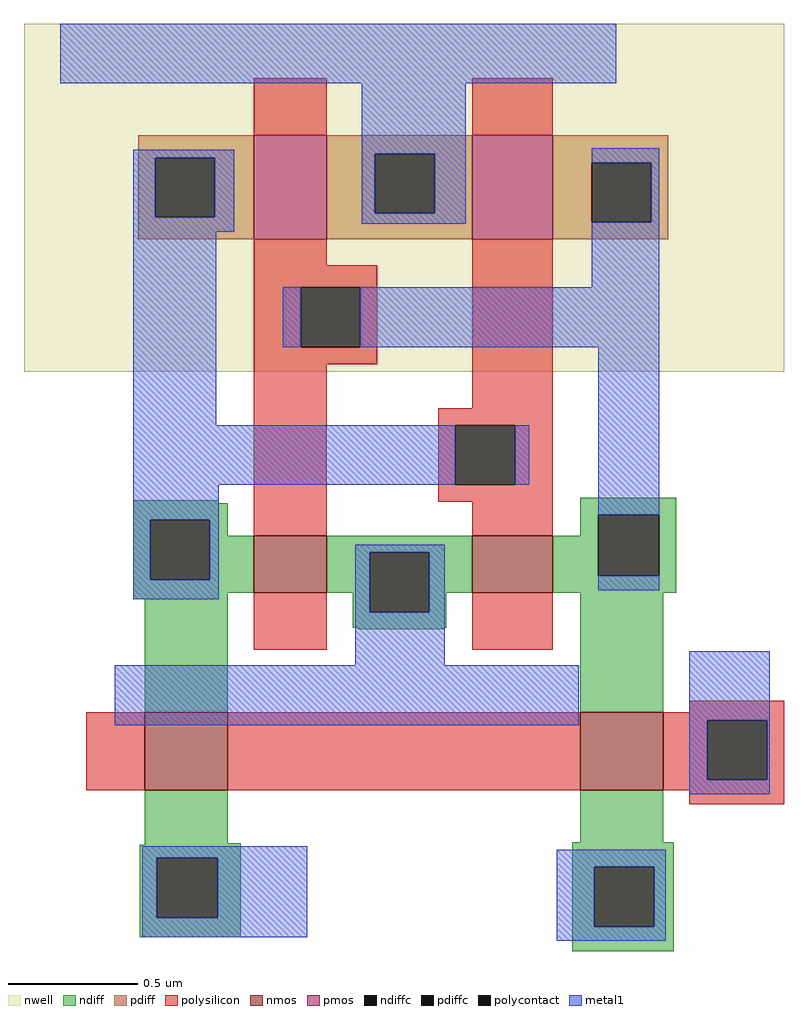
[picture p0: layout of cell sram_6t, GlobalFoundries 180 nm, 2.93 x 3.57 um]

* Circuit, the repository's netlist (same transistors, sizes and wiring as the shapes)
* NGSPICE file created from sram_6t.ext - technology: gf180mcuD

.subckt sram_6t
X0 a_123_502# a_67_186# a_n26_225# w_n109_400# pfet_03v3 ad=0.112p pd=0.96u as=0.178p ps=1.69u w=0.4u l=0.28u
X1 a_67_186# a_n62_78# a_312_n52# VSUBS nfet_03v3 ad=0.15267p pd=1.3u as=0.2409p ps=2.08u w=0.32u l=0.3u
X2 a_123_230# a_67_186# a_n26_225# VSUBS nfet_03v3 ad=86.72499f pd=0.92u as=0.14977p ps=1.28u w=0.22u l=0.28u
X3 a_67_186# a_n26_225# a_123_502# w_n109_400# pfet_03v3 ad=0.178p pd=1.69u as=0.112p ps=0.96u w=0.4u l=0.31u
X4 a_67_186# a_n26_225# a_123_230# VSUBS nfet_03v3 ad=0.15267p pd=1.3u as=86.72499f ps=0.92u w=0.22u l=0.31u
X5 a_n26_225# a_n62_78# a_n21_n38# VSUBS nfet_03v3 ad=0.14977p pd=1.28u as=0.2107p ps=1.94u w=0.32u l=0.3u
.ends

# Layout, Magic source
magic
tech gf180mcuD
magscale 1 10
<< nwell >>
rect -110 400 475 668
<< nmos >>
rect 67 230 123 274
rect 235 230 297 274
rect -17 78 47 138
rect 318 78 382 138
<< pmos >>
rect 67 502 123 582
rect 235 502 297 582
<< ndiff >>
rect -26 299 40 301
rect -26 286 47 299
rect -26 240 -13 286
rect 33 274 47 286
rect 318 290 392 303
rect 318 274 332 290
rect 33 240 67 274
rect -26 230 67 240
rect 123 261 235 274
rect 123 230 156 261
rect -26 225 47 230
rect -17 138 47 225
rect 143 215 156 230
rect 202 230 235 261
rect 297 243 332 274
rect 379 243 392 290
rect 297 230 392 243
rect 202 215 215 230
rect 143 203 215 215
rect 147 202 214 203
rect 318 138 382 230
rect -17 37 47 78
rect 318 38 382 78
rect -17 36 57 37
rect -21 26 57 36
rect -21 -20 -8 26
rect 39 -20 57 26
rect -21 -35 57 -20
rect 312 19 390 38
rect 312 -27 329 19
rect 375 -27 390 19
rect 312 -46 390 -27
<< pdiff >>
rect -22 565 67 582
rect -22 519 -9 565
rect 37 519 67 565
rect -22 502 67 519
rect 123 568 235 582
rect 123 522 160 568
rect 206 522 235 568
rect 123 502 235 522
rect 297 561 386 582
rect 297 515 327 561
rect 373 515 386 561
rect 297 502 386 515
<< ndiffc >>
rect -13 240 33 286
rect 156 215 202 261
rect 332 243 379 290
rect -8 -20 39 26
rect 329 -27 375 19
<< pdiffc >>
rect -9 519 37 565
rect 160 522 206 568
rect 327 515 373 561
<< polysilicon >>
rect 67 582 123 626
rect 235 582 297 626
rect 67 482 123 502
rect 67 465 162 482
rect 67 419 103 465
rect 149 419 162 465
rect 67 406 162 419
rect 67 274 123 406
rect 235 372 297 502
rect 209 359 297 372
rect 209 313 222 359
rect 268 313 297 359
rect 209 300 297 313
rect 235 274 297 300
rect 67 186 123 230
rect 235 186 297 230
rect 402 138 475 147
rect -62 78 -17 138
rect 47 78 318 138
rect 382 132 475 138
rect 382 86 416 132
rect 462 86 475 132
rect 382 78 475 86
rect 402 67 475 78
<< polycontact >>
rect 103 419 149 465
rect 222 313 268 359
rect 416 86 462 132
<< metal1 >>
rect -82 622 346 668
rect -26 565 52 571
rect -26 519 -9 565
rect 37 519 52 565
rect -26 508 52 519
rect 150 568 230 622
rect 150 522 160 568
rect 206 522 230 568
rect 150 514 230 522
rect 327 561 379 572
rect 373 515 379 561
rect -26 359 38 508
rect 327 465 379 515
rect 89 419 103 465
rect 149 419 379 465
rect -26 313 222 359
rect 268 313 279 359
rect -26 286 40 313
rect -26 240 -13 286
rect 33 240 40 286
rect 332 290 379 419
rect -26 225 40 240
rect 145 261 214 267
rect 145 215 156 261
rect 202 215 214 261
rect 332 232 379 243
rect 145 174 214 215
rect -40 128 317 174
rect 402 132 464 185
rect 402 86 416 132
rect 462 86 464 132
rect 402 75 464 86
rect -19 26 108 35
rect -19 -20 -8 26
rect 39 -20 108 26
rect -19 -35 108 -20
rect 300 19 384 32
rect 300 -27 329 19
rect 375 -27 384 19
rect 300 -38 384 -27
<< end >>
